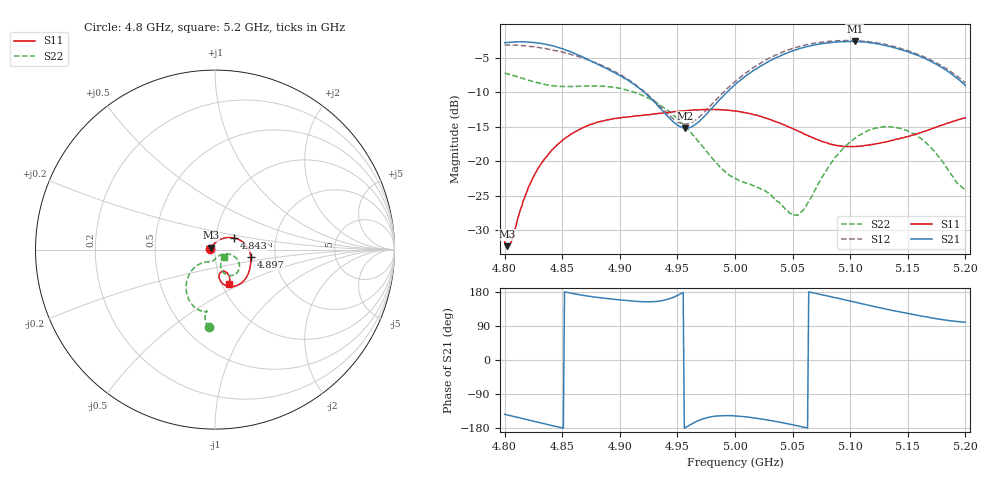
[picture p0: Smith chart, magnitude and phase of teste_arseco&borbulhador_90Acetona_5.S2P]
! Network Analyzer HP8722D
! Hewlett-Packard
! Data name: Linha & Wilkinson
! Saver's name: Rodrigo Anjos
! Comments: Teste da utilização de aquisição
! continua pelo VNA HP8722D
! Time and date: 17/4/2025 11:05
!  Frequency  S11  S21  S12  S22
# HZ  S  MA R 50
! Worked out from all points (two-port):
!   401 points, 4.8 GHz to 5.2 GHz, reference 50 ohm
!   highest |S21| = -2.64 dB at 5.104 GHz (marker M1); lowest = -15.2 dB at 4.957 GHz (marker M2)
!   |S21| within 3 dB of the highest: start of sweep to 4.877 GHz; 5.028 GHz to 5.171 GHz (142.8 MHz wide, 2.8 % of centre)
!   lowest |S11| = -32.3 dB at 4.802 GHz (marker M3), VSWR 1.05, Z = 47.8 + j0.959 ohm
!   |S11| at or under -10 dB: start of sweep to end of sweep
!   |S22| runs from -27.8 to -7.3 dB; largest |S21 - S12| = 0.088
!   S11 on the Smith chart (normalised r, x): 4.8 GHz: 0.95, +0.01; 4.843 GHz: 1.23, +0.16; 4.897 GHz: 1.49, -0.13; 5.2 GHz: 1.08, -0.43
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4.8e9  0.02614 173.8  0.7205 -143.4  0.6952 -141.1  0.4338 -94.7
4.802e9  0.02434 155.7  0.7227 -144.7  0.694 -142.6  0.4302 -94.9
4.806e9  0.02644 120.4  0.7272 -147.7  0.6917 -145.0  0.4217 -96.0
4.816e9  0.05131 72.8  0.732 -154.8  0.6871 -151.9  0.3975 -97.7
4.823e9  0.07113 57.5  0.7265 -159.9  0.675 -156.2  0.3815 -98.3
4.843e9  0.1254 30.7  0.6805 -174.3  0.6344 -168.1  0.3513 -97.8
4.867e9  0.1732 8.8  0.574 171.0  0.5616 179.0  0.3491 -98.8
4.897e9  0.2039 -12.2  0.4293 159.7  0.4396 165.6  0.3406 -109.4
4.934e9  0.2223 -29.6  0.2466 155.1  0.2544 161.8  0.2587 -128.5
4.957e9  0.2321 -40.0  0.1739 -178.1  0.1857 -172.7  0.1782 -137.7
4.968e9  0.2355 -45.2  0.1916 -160.7  0.2054 -156.2  0.1393 -138.7
5e9  0.2309 -61.9  0.3576 -147.6  0.3771 -145.1  0.07526 -116.9
5.027e9  0.2051 -74.3  0.515 -157.7  0.5434 -155.8  0.06064 -96.7
5.052e9  0.1695 -81.1  0.6373 -172.3  0.6608 -171.3  0.04072 -59.3
5.058e9  0.1611 -81.6  0.6593 -176.2  0.6837 -175.2  0.04353 -42.9
5.067e9  0.1486 -81.2  0.6893 178.0  0.7107 178.8  0.05636 -25.1
5.086e9  0.1316 -76.6  0.7263 165.2  0.7422 166.0  0.1038 -18.3
5.104e9  0.128 -70.5  0.7375 152.8  0.7436 153.8  0.1466 -27.0
5.134e9  0.1399 -63.8  0.6766 132.6  0.6889 134.0  0.178 -49.3
5.163e9  0.1629 -61.9  0.5626 115.2  0.5739 116.9  0.1422 -68.5
5.193e9  0.1988 -66.1  0.3978 101.7  0.411 103.1  0.06921 -57.7
5.2e9  0.2066 -67.9  0.3526 99.8  0.3683 101.1  0.0636 -41.2
